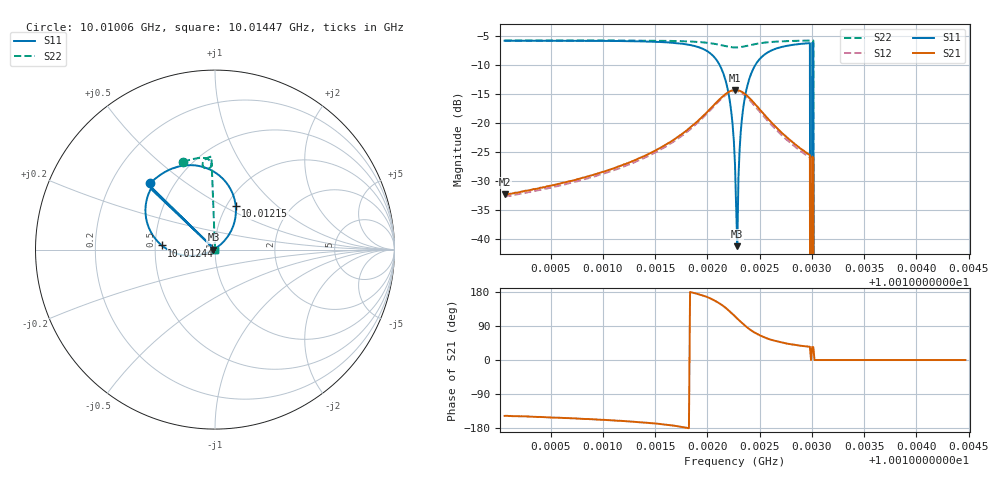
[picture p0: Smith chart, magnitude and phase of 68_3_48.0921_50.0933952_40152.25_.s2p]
#  HZ  S  RI  R  50.00
! Rohde & Schwarz Vector Network Analyzer
! Rohde-Schwarz,ZNB20-2Port,1311601062101988,3.16
! Created: UTC 12/23/2023, 3:41:29 AM
! freq[Hz]  re:S11  im:S11  re:S21  im:S21  re:S12  im:S12  re:S22  im:S22
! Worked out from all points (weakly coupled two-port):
!   401 points, 10.01006 GHz to 10.01447 GHz, reference 50 ohm
!   highest |S21| = -14.23 dB at 10.01226 GHz (marker M1); lowest = -32.3 dB at 10.01006 GHz (marker M2)
!   lowest |S11| = -41.2 dB at 10.01229 GHz (marker M3), VSWR 1.02, Z = 49.1 - j0.0465 ohm
!   |S11| at or under -10 dB: 10.01212 GHz to 10.01246 GHz (337.3 kHz wide, 0.00337 % of centre); 10.01298 GHz to 10.013 GHz (21.6 kHz wide, 0.000216 % of centre); 10.01301 GHz to end of sweep
!   |S22| runs from - to -5.7 dB; largest |S21 - S12| = 0.05
!   S11 on the Smith chart (normalised r, x): 10.01006 GHz: 0.37, +0.37; 10.01215 GHz: 1.10, +0.57; 10.01244 GHz: 0.54, +0.03; 10.01447 GHz: 1.00, +0.00
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1.0010061e10  -0.3615 0.369  -0.0205 -0.013  -0.0188 -0.0136  -0.1776 0.4874
1.0010799e10  -0.3056 0.4156  -0.0306 -0.0141  -0.0286 -0.015  -0.1298 0.5028
1.0011537e10  -0.1968 0.4643  -0.0592 -0.0121  -0.0564 -0.0147  -0.0743 0.5109
1.0011967e10  -0.00823 0.4353  -0.1153 0.022  -0.1129 0.0154  -0.0311 0.4985
1.0012154e10  0.1157 0.2415  -0.1366 0.1061  -0.138 0.0984  -0.0206 0.4678
1.0012231e10  0.0813 0.0885  -0.1066 0.1591  -0.1105 0.1514  -0.032 0.4528
1.0012264e10  0.0328 0.0295  -0.0824 0.1759  -0.0864 0.1688  -0.0404 0.45
1.0012286e10  -0.00867 -0.000473  -0.0639 0.1826  -0.0679 0.1762  -0.0465 0.4499
1.0012297e10  -0.0318 -0.0126  -0.0543 0.1846  -0.0591 0.1781  -0.0492 0.4502
1.0012319e10  -0.0796 -0.0285  -0.0354 0.1858  -0.04 0.1796  -0.0548 0.4523
1.0012341e10  -0.1277 -0.0348  -0.0168 0.1835  -0.0215 0.1774  -0.0597 0.4555
1.0012441e10  -0.2965 0.0234  0.0414 0.1462  0.0349 0.1413  -0.0689 0.4757
1.0012617e10  -0.3854 0.1851  0.061 0.0804  0.0551 0.0786  -0.057 0.5013
1.0012958e10  -0.3602 0.3336  0.0446 0.0316  0.0409 0.0322  -0.0247 0.5171
1.0012969e10  -0.3589 0.336  0.0442 0.0309  0.0404 0.0314  -0.0237 0.5173
1.0012992e10  0 0  0 0  0.0396 0.03  -0.0219 0.5176
1.0013003e10  -0.3549 0.3438  0.0426 0.029  0.0391 0.0292  -0.021 0.5179
1.0013014e10  -0.3534 0.3463  0.042 0.0283  0.0388 0.0285  -0.0199 0.518
1.0013025e10  0 0  0 0  0 0  0 0
1.0013047e10  0 0  0 0  0 0  0 0
1.0013741e10  0 0  0 0  0 0  0 0
1.0014468e10  0 0  0 0  0 0  0 0
